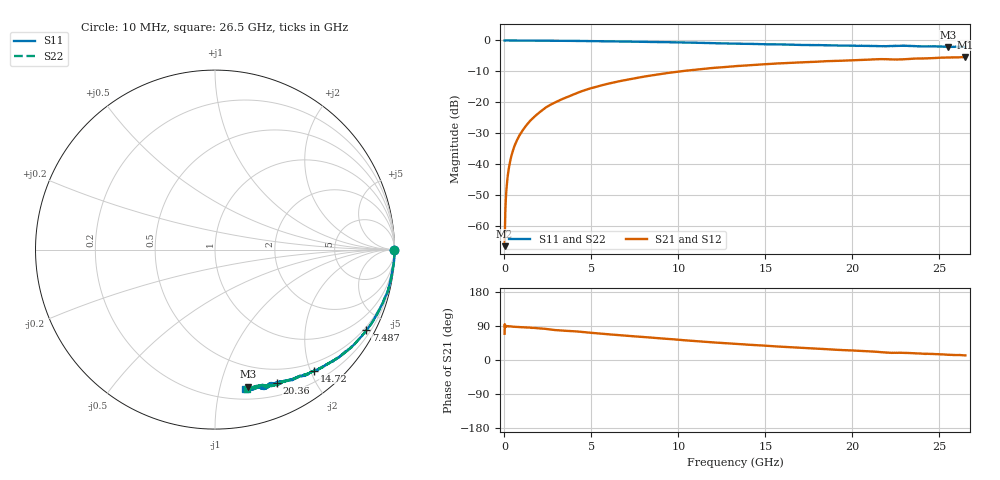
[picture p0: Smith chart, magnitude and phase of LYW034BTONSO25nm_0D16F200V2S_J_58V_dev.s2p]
!Keysight Technologies,N5222B,MY61253708,A.15.00.15
!Date: Wednesday, June 19, 2024 09:11:27
!Correction: S11(C  2-Port  )
!S21(C  2-Port  )
!S12(C  2-Port  )
!S22(C  2-Port  )
!S2P File: Measurements: S11, S21, S12, S22:
# Hz S  RI  R 50
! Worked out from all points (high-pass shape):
!   2651 points, 10 MHz to 26.5 GHz, reference 50 ohm
!   highest |S21| = -5.33 dB at 26.5 GHz (marker M1); lowest = -66.4 dB at 10 MHz (marker M2)
!   |S21| within 3 dB of the highest: 13.22 GHz to end of sweep
!   lowest |S11| = -2.1 dB at 25.5 GHz (marker M3), VSWR 8.29, Z = 15.4 - j61.1 ohm
!   |S11| at or under -10 dB: nowhere
!   |S22| runs from -2.0 to 0.0 dB; largest |S21 - S12| = 0.007
!   S11 on the Smith chart (normalised r, x): 10 MHz: open; 7.487 GHz: 0.38, -3.97; 14.72 GHz: 0.37, -2.06; 20.36 GHz: 0.34, -1.52; 26.5 GHz: 0.28, -1.20
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1e7  0.9986 -0.00268  0.000171 0.000449  0.000244 0.00053  0.9985 -0.00107
7.997358e7  0.9999 -0.00585  1.9e-05 0.00276  1.66e-05 0.00277  0.9994 -0.00527
1.699396e8  0.9998 -0.0122  8.99e-05 0.00583  7.6e-05 0.00587  0.9996 -0.0114
2.199208e8  0.9997 -0.0157  0.00012 0.00754  0.000133 0.00759  0.9992 -0.0147
2.798981e8  0.9998 -0.0198  0.000193 0.00961  0.000123 0.00968  0.9996 -0.0189
3.898566e8  0.9993 -0.0276  0.000393 0.0133  0.000393 0.0134  0.9991 -0.0264
5.198075e8  0.9989 -0.0359  0.000671 0.0178  0.000633 0.0179  0.9992 -0.0352
8.796717e8  0.9976 -0.0606  0.00178 0.0299  0.00181 0.0301  0.997 -0.0594
1.489442e9  0.9896 -0.1031  0.0044 0.0508  0.00448 0.0512  0.9925 -0.0993
2.349117e9  0.9803 -0.1573  0.011 0.0809  0.0113 0.0815  0.9818 -0.1569
3.208792e9  0.9678 -0.2133  0.0227 0.1072  0.0229 0.1079  0.9683 -0.2117
4.428332e9  0.9384 -0.2875  0.0411 0.1456  0.0416 0.1465  0.9405 -0.284
5.817808e9  0.8991 -0.364  0.0719 0.1824  0.073 0.1834  0.902 -0.3632
7.487177e9  0.8434 -0.4491  0.1136 0.2177  0.1149 0.2185  0.8458 -0.4478
8.846664e9  0.7916 -0.5101  0.1524 0.2402  0.154 0.2409  0.794 -0.5074
1.3255e10  0.6108 -0.6466  0.2823 0.2607  0.2846 0.2606  0.6161 -0.6444
1.472445e10  0.5529 -0.6743  0.3206 0.2546  0.3226 0.2544  0.5581 -0.6704
1.767333e10  0.436 -0.7208  0.3879 0.2288  0.3914 0.2272  0.449 -0.7181
2.036232e10  0.3452 -0.7431  0.4395 0.1989  0.4425 0.1968  0.3634 -0.7439
2.209166e10  0.3019 -0.7488  0.4685 0.1642  0.4703 0.1615  0.2984 -0.7554
2.550038e10  0.1841 -0.7629  0.5157 0.1258  0.5173 0.1261  0.2067 -0.7674
2.65e10  0.166 -0.7778  0.5289 0.1151  0.5283 0.1116  0.1806 -0.7776
